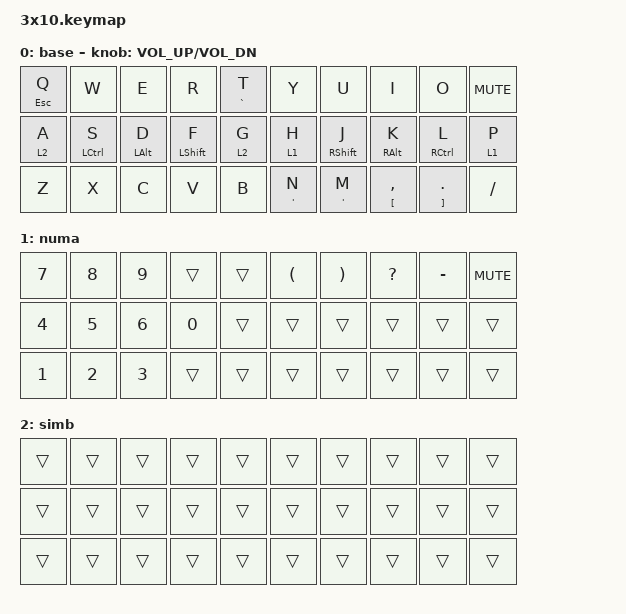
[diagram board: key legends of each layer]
#include <behaviors.dtsi>
#include <dt-bindings/zmk/keys.h>

#define DEFAULT 0
#define NUMPAD 1
#define BLT 2

/ {
    behaviors {
        hrm_r: hrm_right {
            compatible = "zmk,behavior-hold-tap";
            label = "HRM_R";
            #binding-cells = <2>;
            tapping-term-ms = <200>;
            quick-tap-ms = <175>;
            flavor = "balanced";
            require-prior-idle-ms = <150>;
            hold-trigger-on-release;
            bindings = <&kp>, <&kp>;

            hold-trigger-key-positions = <
            0 1 2 3 4
            10 11 12 13 14
            20 21 22 23 24
            >;
        };

        hrm_l: hrm_left {
            compatible = "zmk,behavior-hold-tap";
            label = "HRM_L";
            #binding-cells = <2>;
            tapping-term-ms = <200>;
            quick-tap-ms = <175>;
            flavor = "balanced";
            require-prior-idle-ms = <150>;
            hold-trigger-on-release;
            bindings = <&kp>, <&kp>;

            hold-trigger-key-positions = <
            5 6 7 8
            15 16 17 18 19
            25 26 27 28 29
            >;
        };

        tolay: tolay {
            compatible = "zmk,behavior-hold-tap";
            label = "TOLAY";
            bindings = <&mo>, <&kp>;

            #binding-cells = <2>;
            tapping-term-ms = <200>;
        };
    };

    combos {
        compatible = "zmk,combos";

        backspace {
            bindings = <&kp BACKSPACE>;
            key-positions = <8 7>;
        };

        space {
            bindings = <&kp SPACE>;
            key-positions = <18 17>;
        };

        enter {
            bindings = <&kp ENTER>;
            key-positions = <7 6>;
        };
    };

    keymap {
        compatible = "zmk,keymap";

        base_layer {
            bindings = <
&hrm_l ESC Q  &kp W           &kp E              &kp R                &hrm_l GRAVE T  &kp Y         &kp U           &kp I                      &kp O                     &kp C_MUTE
&tolay 2 A    &hrm_l LCTRL S  &hrm_l LEFT_ALT D  &hrm_l LEFT_SHIFT F  &tolay 2 G      &tolay 1 H    &hrm_r RSHFT J  &hrm_r RALT K              &hrm_r RCTRL L            &tolay 1 P
&kp Z         &kp X           &kp C              &kp V                &kp B           &hrm_r SQT N  &hrm_r SQT M    &hrm_r LEFT_BRACKET COMMA  &hrm_r RIGHT_BRACKET DOT  &kp SLASH
            >;

            sensor-bindings = <&inc_dec_kp C_VOL_UP C_VOL_DN>;
            label = "base";
        };

        numa {
            bindings = <
&kp N7  &kp N8  &kp N9  &trans  &trans  &kp LEFT_PARENTHESIS  &kp RIGHT_PARENTHESIS  &kp QUESTION  &kp MINUS  &kp C_MUTE
&kp N4  &kp N5  &kp N6  &kp N0  &trans  &trans                &trans                 &trans        &trans     &trans
&kp N1  &kp N2  &kp N3  &trans  &trans  &trans                &trans                 &trans        &trans     &trans
            >;
        };

        simb {
            bindings = <
&trans  &trans  &trans  &trans  &trans  &trans  &trans  &trans  &trans  &trans
&trans  &trans  &trans  &trans  &trans  &trans  &trans  &trans  &trans  &trans
&trans  &trans  &trans  &trans  &trans  &trans  &trans  &trans  &trans  &trans
            >;
        };
    };
};
